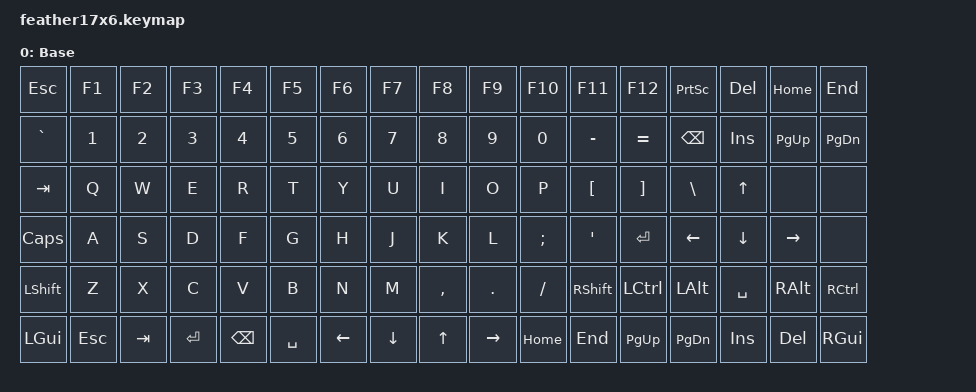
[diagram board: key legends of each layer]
#include <behaviors.dtsi>
#include <dt-bindings/zmk/keys.h>

/ {
    keymap {
        compatible = "zmk,keymap";

        default_layer {
            display-name = "Base";

            bindings = <
                /* Row 1 */
                &kp ESC &kp F1 &kp F2 &kp F3 &kp F4 &kp F5 &kp F6 &kp F7 &kp F8 &kp F9 &kp F10 &kp F11 &kp F12 &kp PSCRN &kp DEL &kp HOME &kp END

                /* Row 2 */
                &kp GRAVE &kp N1 &kp N2 &kp N3 &kp N4 &kp N5 &kp N6 &kp N7 &kp N8 &kp N9 &kp N0 &kp MINUS &kp EQUAL &kp BSPC &kp INSERT &kp PG_UP &kp PG_DN

                /* Row 3 */
                &kp TAB &kp Q &kp W &kp E &kp R &kp T &kp Y &kp U &kp I &kp O &kp P &kp LBKT &kp RBKT &kp BSLH &kp UP &none &none

                /* Row 4 */
                &kp CAPS &kp A &kp S &kp D &kp F &kp G &kp H &kp J &kp K &kp L &kp SEMI &kp SQT &kp ENTER &kp LEFT &kp DOWN &kp RIGHT &none

                /* Row 5 */
                &kp LSHIFT &kp Z &kp X &kp C &kp V &kp B &kp N &kp M &kp COMMA &kp DOT &kp FSLH &kp RSHIFT &kp LCTRL &kp LALT &kp SPACE &kp RALT &kp RCTRL

                /* Row 6 */
                &kp LGUI &kp ESC &kp TAB &kp ENTER &kp BSPC &kp SPACE &kp LEFT &kp DOWN &kp UP &kp RIGHT &kp HOME &kp END &kp PG_UP &kp PG_DN &kp INSERT &kp DELETE &kp RGUI
            >;
        };
    };
};
